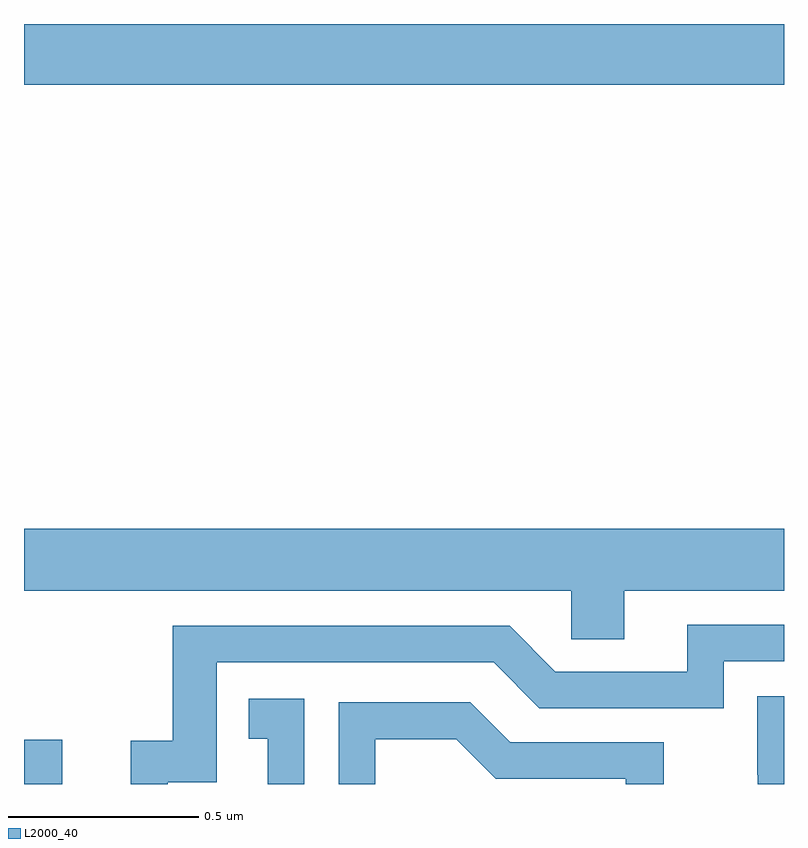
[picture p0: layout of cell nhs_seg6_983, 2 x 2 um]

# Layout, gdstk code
import gdstk
lib = gdstk.Library(unit=1e-6, precision=1e-09)
def R(c, l, rs):  # rectangles x0, y0, x1, y1
    for r in rs: c.add(gdstk.rectangle(r[:2], r[2:], *l))
def P(c, l, *ps):  # polygons
    for p in ps: c.add(gdstk.Polygon(p, *l))
L2000_40 = (2000, 40)

nhs_seg6_983 = lib.new_cell('nhs_seg6_983')
R(nhs_seg6_983, L2000_40, [(123,941.5,123.1,941.617), (123,943.34,125,943.5)])
P(nhs_seg6_983, L2000_40, [(124.579,942.008),(125,942.008),(125,942.172),(123,942.172),(123,942.008),(124.44,942.008),(124.44,941.881),(124.579,941.881)],
  [(123.378,941.505),(123.507,941.505),(123.507,941.82),(124.236,941.82),(124.356,941.7),(124.842,941.7),(124.842,941.823),(125,941.823),(125,941.919),(124.745,941.919),(124.745,941.796),(124.398,941.796),(124.278,941.916),(123.391,941.916),(123.391,941.614),(123.281,941.614),(123.281,941.5),(123.378,941.5)],
  [(125,941.731),(124.93,941.731),(124.93,941.525),(124.931,941.525),(124.931,941.5),(125,941.5)],
  [(123.738,941.725),(123.592,941.725),(123.592,941.619),(123.641,941.619),(123.641,941.5),(123.738,941.5)],
  [(123.924,941.618),(124.138,941.618),(124.242,941.514),(124.584,941.514),(124.584,941.5),(124.683,941.5),(124.683,941.61),(124.279,941.61),(124.174,941.715),(123.828,941.715),(123.828,941.5),(123.924,941.5)])

lib.write_gds('nhs_seg6_983.gds')
